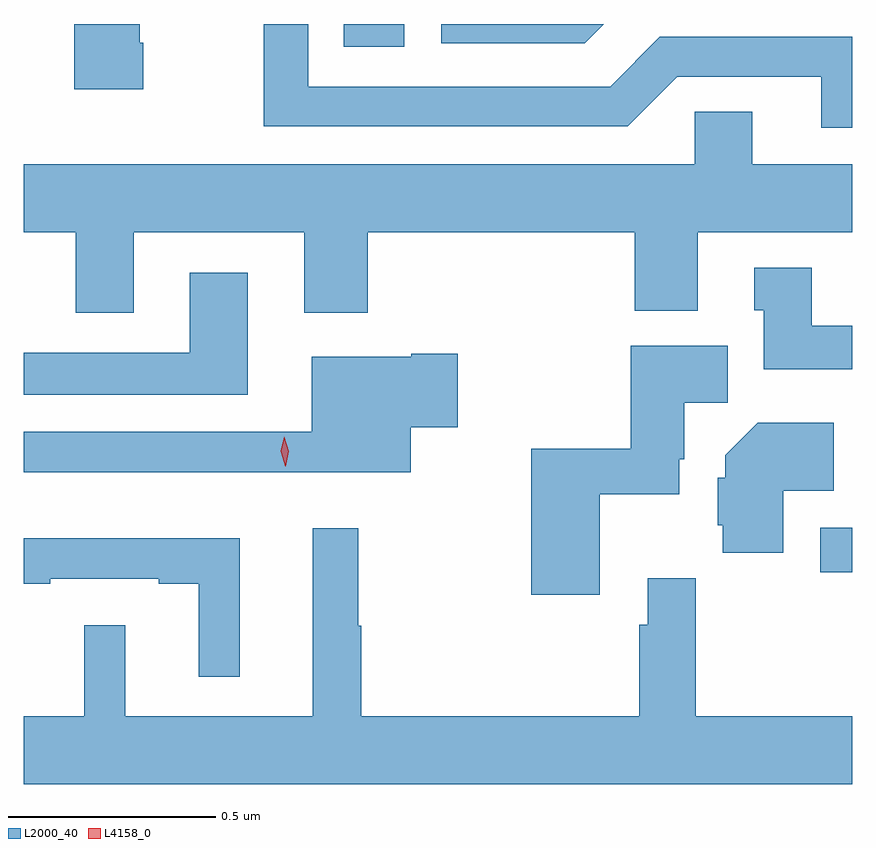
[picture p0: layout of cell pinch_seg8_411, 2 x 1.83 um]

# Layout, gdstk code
import gdstk
lib = gdstk.Library(unit=1e-6, precision=1e-09)
def R(c, l, rs):  # rectangles x0, y0, x1, y1
    for r in rs: c.add(gdstk.rectangle(r[:2], r[2:], *l))
def P(c, l, *ps):  # polygons
    for p in ps: c.add(gdstk.Polygon(p, *l))
L2000_40 = (2000, 40)
L4158_0 = (4158, 0)

pinch_seg8_411 = lib.new_cell('pinch_seg8_411')
R(pinch_seg8_411, L2000_40, [(509.469,1109.019,509.546,1109.127), (508.318,1110.288,508.464,1110.343)])
P(pinch_seg8_411, L2000_40, [(508.946,1110.343),(508.554,1110.343),(508.554,1110.297),(508.9,1110.297)],
  [(509.546,1110.312),(509.082,1110.312),(508.962,1110.192),(508.233,1110.192),(508.233,1110.343),(508.125,1110.343),(508.125,1110.096),(509.004,1110.096),(509.124,1110.216),(509.471,1110.216),(509.471,1110.093),(509.546,1110.093)],
  [(507.834,1110.298),(507.826,1110.298),(507.826,1110.343),(507.668,1110.343),(507.668,1110.186),(507.834,1110.186)],
  [(507.811,1109.84),(508.223,1109.84),(508.223,1109.646),(508.376,1109.646),(508.376,1109.84),(509.021,1109.84),(509.021,1109.651),(509.173,1109.651),(509.173,1109.84),(509.546,1109.84),(509.546,1110.004),(509.305,1110.004),(509.305,1110.131),(509.166,1110.131),(509.166,1110.004),(507.546,1110.004),(507.546,1109.84),(507.671,1109.84),(507.671,1109.646),(507.811,1109.646)],
  [(509.546,1109.614),(509.449,1109.614),(509.449,1109.755),(509.309,1109.755),(509.309,1109.652),(509.333,1109.652),(509.333,1109.51),(509.546,1109.51)],
  [(508.087,1109.743),(507.947,1109.743),(507.947,1109.549),(507.546,1109.549),(507.546,1109.448),(508.087,1109.448)],
  [(508.936,1109.207),(509.128,1109.207),(509.128,1109.292),(509.14,1109.292),(509.14,1109.428),(509.245,1109.428),(509.245,1109.566),(509.011,1109.566),(509.011,1109.317),(508.771,1109.317),(508.771,1108.965),(508.936,1108.965)],
  [(508.48,1109.369),(508.594,1109.369),(508.594,1109.547),(508.481,1109.547),(508.481,1109.539),(508.241,1109.539),(508.241,1109.358),(507.546,1109.358),(507.546,1109.261),(508.48,1109.261)],
  [(509.38,1109.216),(509.501,1109.216),(509.501,1109.38),(509.318,1109.38),(509.24,1109.302),(509.24,1109.247),(509.222,1109.247),(509.222,1109.133),(509.233,1109.133),(509.233,1109.066),(509.38,1109.066)],
  [(508.067,1109.101),(507.546,1109.101),(507.546,1108.992),(507.61,1108.992),(507.61,1109.004),(507.872,1109.004),(507.872,1108.992),(507.968,1108.992),(507.968,1108.767),(508.067,1108.767)],
  [(508.244,1109.125),(508.244,1108.672),(507.791,1108.672),(507.791,1108.891),(507.692,1108.891),(507.692,1108.672),(507.546,1108.672),(507.546,1108.508),(509.546,1108.508),(509.546,1108.672),(509.168,1108.672),(509.168,1109.005),(509.052,1109.005),(509.052,1108.892),(509.032,1108.892),(509.032,1108.672),(508.361,1108.672),(508.361,1108.89),(508.354,1108.89),(508.354,1109.125)])
P(pinch_seg8_411, L4158_0, [(508.177,1109.275),(508.166,1109.311),(508.175,1109.347),(508.175,1109.347),(508.175,1109.347),(508.186,1109.312),(508.178,1109.275),(508.178,1109.275)])

lib.write_gds('pinch_seg8_411.gds')
